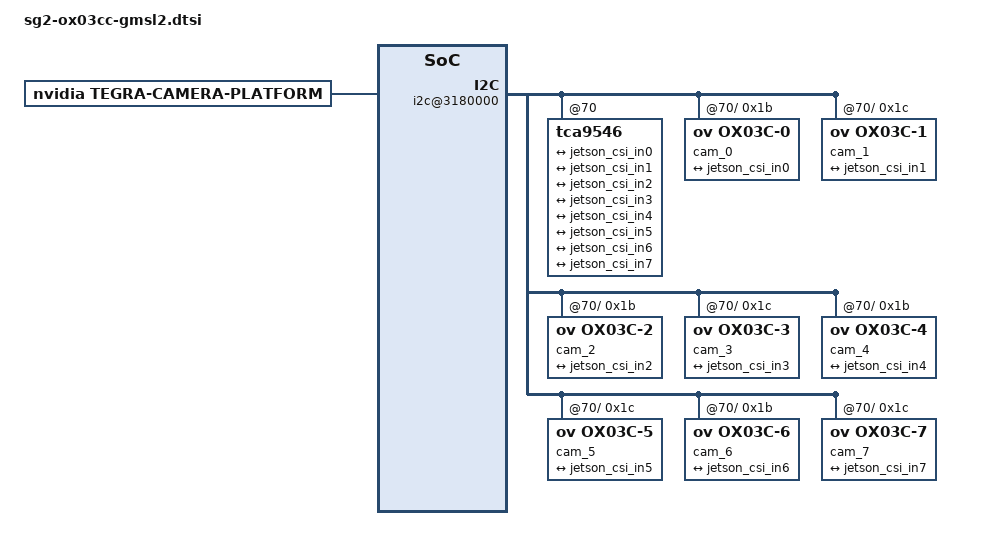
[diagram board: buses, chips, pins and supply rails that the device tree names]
/*
 * Copyright (c) 2018-2022, NVIDIA CORPORATION.  All rights reserved.
 *
 * This program is free software; you can redistribute it and/or modify
 * it under the terms of the GNU General Public License as published by
 * the Free Software Foundation; either version 2 of the License, or
 * (at your option) any later version.
 *
 * This program is distributed in the hope that it will be useful, but WITHOUT
 * ANY WARRANTY; without even the implied warranty of MERCHANTABILITY or
 * FITNESS FOR A PARTICULAR PURPOSE.  See the GNU General Public License for
 * more details.
 *
 * You should have received a copy of the GNU General Public License
 * along with this program.  If not, see <http://www.gnu.org/licenses/>.
 */

/ {

	tegra-capture-vi {
		num-channels = <8>;
		ports {
			#address-cells = <1>;
			#size-cells = <0>;
			port@0 {
				reg = <0>;
				jetson_vi_in0: endpoint {
					vc-id = <0>;
					port-index = <0>;
					bus-width = <2>;
					remote-endpoint = <&jetson_csi_out0>;
				};
			};
			port@1 {
				reg = <1>;
				jetson_vi_in1: endpoint {
					vc-id = <1>;
					port-index = <0>;
					bus-width = <2>;
					remote-endpoint = <&jetson_csi_out1>;
				};
			};
			port@2 {
				reg = <2>;
				jetson_vi_in2: endpoint {
					vc-id = <0>;
					port-index = <2>;
					bus-width = <2>;
					remote-endpoint = <&jetson_csi_out2>;
				};
			};
			port@3 {
				reg = <3>;
				jetson_vi_in3: endpoint {
					vc-id = <1>;
					port-index = <2>;
					bus-width = <2>;
					remote-endpoint = <&jetson_csi_out3>;
				};
			};
			port@4 {
				reg = <4>;
				jetson_vi_in4: endpoint {
					vc-id = <0>;
					port-index = <4>;
					bus-width = <2>;
					remote-endpoint = <&jetson_csi_out4>;
				};
			};
			port@5 {
				reg = <5>;
				jetson_vi_in5: endpoint {
					vc-id = <1>;
					port-index = <4>;
					bus-width = <2>;
					remote-endpoint = <&jetson_csi_out5>;
				};
			};
			port@6 {
				reg = <6>;
				jetson_vi_in6: endpoint {
					vc-id = <0>;
					port-index = <5>;
					bus-width = <2>;
					remote-endpoint = <&jetson_csi_out6>;
				};
			};
			port@7 {
				reg = <7>;
				jetson_vi_in7: endpoint {
					vc-id = <1>;
					port-index = <5>;
					bus-width = <2>;
					remote-endpoint = <&jetson_csi_out7>;
				};
			};
		};
	};

	host1x@13e00000 {
		nvcsi@15a00000 {
			num-channels = <8>;
			#address-cells = <1>;
			#size-cells = <0>;
			channel@0 {
				reg = <0>;
				ports {
					#address-cells = <1>;
					#size-cells = <0>;
					port@0 {
						reg = <0>;
						jetson_csi_in0: endpoint@0 {
							port-index = <0>;
							bus-width = <2>;
							remote-endpoint = <&cam_csi_out0>;
						};
					};
					port@1 {
						reg = <1>;
						jetson_csi_out0: endpoint@1 {
							remote-endpoint = <&jetson_vi_in0>;
						};
					};
				};
			};
			channel@1 {
				reg = <1>;
				ports {
					#address-cells = <1>;
					#size-cells = <0>;
					port@0 {
						reg = <0>;
						jetson_csi_in1: endpoint@2 {
							port-index = <0>;
							bus-width = <2>;
							remote-endpoint = <&cam_csi_out1>;
						};
					};
					port@1 {
						reg = <1>;
						jetson_csi_out1: endpoint@3 {
							remote-endpoint = <&jetson_vi_in1>;
						};
					};
				};
			};
			channel@2 {
				reg = <2>;
				ports {
					#address-cells = <1>;
					#size-cells = <0>;
					port@0 {
						reg = <0>;
						jetson_csi_in2: endpoint@4 {
							port-index = <2>;
							bus-width = <2>;
							remote-endpoint = <&cam_csi_out2>;
						};
					};
					port@1 {
						reg = <1>;
						jetson_csi_out2: endpoint@5 {
							remote-endpoint = <&jetson_vi_in2>;
						};
					};
				};
			};
			channel@3 {
				reg = <3>;
				ports {
					#address-cells = <1>;
					#size-cells = <0>;
					port@0 {
						reg = <0>;
						jetson_csi_in3: endpoint@6 {
							port-index = <2>;
							bus-width = <2>;
							remote-endpoint = <&cam_csi_out3>;
						};
					};
					port@1 {
						reg = <1>;
						jetson_csi_out3: endpoint@7 {
							remote-endpoint = <&jetson_vi_in3>;
						};
					};
				};
			};
			channel@4 {
				reg = <4>;
				ports {
					#address-cells = <1>;
					#size-cells = <0>;
					port@0 {
						reg = <0>;
						jetson_csi_in4: endpoint@8 {
							port-index = <4>;
							bus-width = <2>;
							remote-endpoint = <&cam_csi_out4>;
						};
					};
					port@1 {
						reg = <1>;
						jetson_csi_out4: endpoint@9 {
							remote-endpoint = <&jetson_vi_in4>;
						};
					};
				};
			};
			channel@5 {
				reg = <5>;
				ports {
					#address-cells = <1>;
					#size-cells = <0>;
					port@0 {
						reg = <0>;
						jetson_csi_in5: endpoint@10 {
							port-index = <4>;
							bus-width = <2>;
							remote-endpoint = <&cam_csi_out5>;
						};
					};
					port@1 {
						reg = <1>;
						jetson_csi_out5: endpoint@11 {
							remote-endpoint = <&jetson_vi_in5>;
						};
					};
				};
			};
			channel@6 {
				reg = <6>;
				ports {
					#address-cells = <1>;
					#size-cells = <0>;
					port@0 {
						reg = <0>;
						jetson_csi_in6: endpoint@12 {
							port-index = <6>;
							bus-width = <2>;
							remote-endpoint = <&cam_csi_out6>;
						};
					};
					port@1 {
						reg = <1>;
						jetson_csi_out6: endpoint@13 {
							remote-endpoint = <&jetson_vi_in6>;
						};
					};
				};
			};
			channel@7 {
				reg = <7>;
				ports {
					#address-cells = <1>;
					#size-cells = <0>;
					port@0 {
						reg = <0>;
						jetson_csi_in7: endpoint@14 {
							port-index = <6>;
							bus-width = <2>;
							remote-endpoint = <&cam_csi_out7>;
						};
					};
					port@1 {
						reg = <1>;
						jetson_csi_out7: endpoint@15 {
							remote-endpoint = <&jetson_vi_in7>;
						};
					};
				};
			};
		};
	};

	i2c@3180000 {
		tca9546@70 {
			i2c@0 {
				cam_0@1b {
					compatible = "ov,ox03c-0";
					def-addr = <0x36>;
					reg = <0x1b>;

					/* Physical dimensions of sensor */
					physical_w = "15.0";
					physical_h = "12.5";

					sensor_model ="ox03c";

					/* Defines number of frames to be dropped by driver internally after applying */
					/* sensor crop settings. Some sensors send corrupt frames after applying */
					/* crop co-ordinates */
					post_crop_frame_drop = "0";

					/* Convert Gain to unit of dB (decibel) befor passing to kernel driver */
					use_decibel_gain = "false";

					/* enable CID_SENSOR_MODE_ID for sensor modes selection */
					use_sensor_mode_id = "true";

					mode0 {/*mode ox03c_1920x1080_crop_30fps*/
						mclk_khz = "24000";
						num_lanes = "2";
						tegra_sinterface = "serial_a";
						vc_id = "0";
						discontinuous_clk = "no";
						dpcm_enable = "false";
						cil_settletime = "0";
						dynamic_pixel_bit_depth = "10";
						csi_pixel_bit_depth = "10";
						mode_type = "bayer";
						pixel_phase = "grbg";

						active_w = "1920";
						active_h = "1080";
						readout_orientation = "0";
						line_length = "1920";
						inherent_gain = "1";
						pix_clk_hz = "74250000";
						serdes_pix_clk_hz = "100000000";

						gain_factor = "10000";
						min_gain_val = "10000"; /*1x*/
						max_gain_val = "40000"; /*4x*/
						step_gain_val = "625";
						default_gain = "15000";
						min_hdr_ratio = "1";
						max_hdr_ratio = "1";
						framerate_factor = "1000000";
						min_framerate = "30000000";
						max_framerate = "30000000";
						step_framerate = "1";
						default_framerate = "30000000";
						exposure_factor = "1000000";
						min_exp_time = "60";
						max_exp_time = "13000";
						step_exp_time = "1";
						default_exp_time = "1000";/* us */
						embedded_metadata_height = "0";
					};

					ports {
						#address-cells = <1>;
						#size-cells = <0>;
						port@0 {
							reg = <0>;
							cam_csi_out0: endpoint {
								vc-id = <0>;
								port-index = <0>;
								bus-width = <2>;
								remote-endpoint = <&jetson_csi_in0>;
							};
						};
					};
					gmsl-link {
						src-csi-port = "b";
						dst-csi-port = "a";
						serdes-csi-link = "a";
						csi-mode = "1x4";
						st-vc = <0>;
						vc-id = <0>;
						num-lanes = <2>;
						streams = "ued-u1", "raw10";
					};
				};
				cam_1@1c {
					compatible = "ov,ox03c-1";
					def-addr = <0x36>;
					reg = <0x1c>;

					/* Physical dimensions of sensor */
					physical_w = "15.0";
					physical_h = "12.5";

					sensor_model ="ox03c";


					/* Defines number of frames to be dropped by driver internally after applying */
					/* sensor crop settings. Some sensors send corrupt frames after applying */
					/* crop co-ordinates */
					post_crop_frame_drop = "0";

					/* Convert Gain to unit of dB (decibel) befor passing to kernel driver */
					use_decibel_gain = "false";

					/* enable CID_SENSOR_MODE_ID for sensor modes selection */
					use_sensor_mode_id = "true";

					mode0 {
						mclk_khz = "24000";
						num_lanes = "2";
						tegra_sinterface = "serial_a";
						vc_id = "1";
						discontinuous_clk = "no";
						dpcm_enable = "false";
						cil_settletime = "0";
						dynamic_pixel_bit_depth = "10";
						csi_pixel_bit_depth = "10";
						mode_type = "bayer";
						pixel_phase = "grbg";

						active_w = "1920";
						active_h = "1080";
						readout_orientation = "0";
						line_length = "1920";
						inherent_gain = "1";
						pix_clk_hz = "74250000";
						serdes_pix_clk_hz = "100000000";

						gain_factor = "10000";
						min_gain_val = "10000"; /*1x*/
						max_gain_val = "40000"; /*4x*/
						step_gain_val = "625";
						default_gain = "15000";
						min_hdr_ratio = "1";
						max_hdr_ratio = "1";
						framerate_factor = "1000000";
						min_framerate = "30000000";
						max_framerate = "30000000";
						step_framerate = "1";
						default_framerate = "30000000";
						exposure_factor = "1000000";
						min_exp_time = "60";
						max_exp_time = "13000";
						step_exp_time = "1";
						default_exp_time = "1000";/* us */
						embedded_metadata_height = "0";
					};

					ports {
						#address-cells = <1>;
						#size-cells = <0>;
						port@0 {
							reg = <0>;
							cam_csi_out1: endpoint {
								vc-id = <1>;
								port-index = <0>;
								bus-width = <2>;
								remote-endpoint = <&jetson_csi_in1>;
						    };
					    };
				    };
					gmsl-link {
						src-csi-port = "b";
						dst-csi-port = "a";
						serdes-csi-link = "b";
						csi-mode = "1x4";
						st-vc = <0>;
						vc-id = <1>;
						num-lanes = <2>;
						streams = "ued-u1", "raw10";
					};
				};
			};
			i2c@1 {
				cam_2@1b {
					compatible = "ov,ox03c-2";
					def-addr = <0x36>;
					reg = <0x1b>;

					/* Physical dimensions of sensor */
					physical_w = "15.0";
					physical_h = "12.5";

					sensor_model ="ox03c";

					/* Defines number of frames to be dropped by driver internally after applying */
					/* sensor crop settings. Some sensors send corrupt frames after applying */
					/* crop co-ordinates */
					post_crop_frame_drop = "0";

					/* Convert Gain to unit of dB (decibel) befor passing to kernel driver */
					use_decibel_gain = "false";

					/* enable CID_SENSOR_MODE_ID for sensor modes selection */
					use_sensor_mode_id = "true";

					mode0 {/*mode ox03c_1920x1080_crop_30fps*/
						mclk_khz = "24000";
						num_lanes = "2";
						tegra_sinterface = "serial_c";
						vc_id = "0";
						discontinuous_clk = "no";
						dpcm_enable = "false";
						cil_settletime = "0";
						dynamic_pixel_bit_depth = "10";
						csi_pixel_bit_depth = "10";
						mode_type = "bayer";
						pixel_phase = "grbg";

						active_w = "1920";
						active_h = "1080";
						readout_orientation = "0";
						line_length = "1920";
						inherent_gain = "1";
						pix_clk_hz = "74250000";
						serdes_pix_clk_hz = "100000000";

						gain_factor = "10000";
						min_gain_val = "10000"; /*1x*/
						max_gain_val = "40000"; /*4x*/
						step_gain_val = "625";
						default_gain = "10000";
						min_hdr_ratio = "1";
						max_hdr_ratio = "1";
						framerate_factor = "1000000";
						min_framerate = "30000000";
						max_framerate = "30000000";
						step_framerate = "1";
						default_framerate = "30000000";
						exposure_factor = "1000000";
						min_exp_time = "60";
						max_exp_time = "13000";
						step_exp_time = "1";
						default_exp_time = "1000";/* us */
						embedded_metadata_height = "0";
					};

					ports {
						#address-cells = <1>;
						#size-cells = <0>;
						port@0 {
							reg = <0>;
							cam_csi_out2: endpoint {
								vc-id = <0>;
								port-index = <2>;
								bus-width = <2>;
								remote-endpoint = <&jetson_csi_in2>;
							};
						};
					};
					gmsl-link {
						src-csi-port = "b";
						dst-csi-port = "a";
						serdes-csi-link = "a";
						csi-mode = "1x4";
						st-vc = <0>;
						vc-id = <0>;
						num-lanes = <2>;
						streams = "ued-u1", "raw10";
					};
				};
				cam_3@1c {
					compatible = "ov,ox03c-3";
					def-addr = <0x36>;
					reg = <0x1c>;

					/* Physical dimensions of sensor */
					physical_w = "15.0";
					physical_h = "12.5";

					sensor_model ="ox03c";

					/* Defines number of frames to be dropped by driver internally after applying */
					/* sensor crop settings. Some sensors send corrupt frames after applying */
					/* crop co-ordinates */
					post_crop_frame_drop = "0";

					/* Convert Gain to unit of dB (decibel) befor passing to kernel driver */
					use_decibel_gain = "false";

					/* enable CID_SENSOR_MODE_ID for sensor modes selection */
					use_sensor_mode_id = "true";

					mode0 {
						mclk_khz = "24000";
						num_lanes = "2";
						tegra_sinterface = "serial_c";
						vc_id = "1";
						discontinuous_clk = "no";
						dpcm_enable = "false";
						cil_settletime = "0";
						dynamic_pixel_bit_depth = "10";
						csi_pixel_bit_depth = "10";
						mode_type = "bayer";
						pixel_phase = "grbg";

						active_w = "1920";
						active_h = "1080";
						readout_orientation = "0";
						line_length = "1920";
						inherent_gain = "1";
						pix_clk_hz = "74250000";
						serdes_pix_clk_hz = "100000000";

						gain_factor = "10000";
						min_gain_val = "10000"; /*1x*/
						max_gain_val = "40000"; /*4x*/
						step_gain_val = "625";
						default_gain = "15000";
						min_hdr_ratio = "1";
						max_hdr_ratio = "1";
						framerate_factor = "1000000";
						min_framerate = "30000000";
						max_framerate = "30000000";
						step_framerate = "1";
						default_framerate = "30000000";
						exposure_factor = "1000000";
						min_exp_time = "60";
						max_exp_time = "13000";
						step_exp_time = "1";
						default_exp_time = "1000";/* us */
						embedded_metadata_height = "0";
					};

					ports {
						#address-cells = <1>;
						#size-cells = <0>;
						port@0 {
							reg = <0>;
							cam_csi_out3: endpoint {
								vc-id = <1>;
								port-index = <2>;
								bus-width = <2>;
								remote-endpoint = <&jetson_csi_in3>;
						    };
					    };
				    };
					gmsl-link {
						src-csi-port = "b";
						dst-csi-port = "a";
						serdes-csi-link = "b";
						csi-mode = "1x4";
						st-vc = <0>;
						vc-id = <1>;
						num-lanes = <2>;
						streams = "ued-u1", "raw10";
					};
				};
			};
			i2c@2 {
				cam_4@1b {
					compatible = "ov,ox03c-4";
					def-addr = <0x36>;
					reg = <0x1b>;

					/* Physical dimensions of sensor */
					physical_w = "15.0";
					physical_h = "12.5";

					sensor_model ="ox03c";

					/* Defines number of frames to be dropped by driver internally after applying */
					/* sensor crop settings. Some sensors send corrupt frames after applying */
					/* crop co-ordinates */
					post_crop_frame_drop = "0";

					/* Convert Gain to unit of dB (decibel) befor passing to kernel driver */
					use_decibel_gain = "false";

					/* enable CID_SENSOR_MODE_ID for sensor modes selection */
					use_sensor_mode_id = "true";

					mode0 {/*mode ox03c_1920x1080_crop_30fps*/
						mclk_khz = "24000";
						num_lanes = "2";
						tegra_sinterface = "serial_e";
						vc_id = "0";
						discontinuous_clk = "no";
						dpcm_enable = "false";
						cil_settletime = "0";
						dynamic_pixel_bit_depth = "10";
						csi_pixel_bit_depth = "10";
						mode_type = "bayer";
						pixel_phase = "grbg";

						active_w = "1920";
						active_h = "1080";
						readout_orientation = "0";
						line_length = "1920";
						inherent_gain = "1";
						pix_clk_hz = "74250000";
						serdes_pix_clk_hz = "100000000";

						gain_factor = "10000";
						min_gain_val = "10000";
						max_gain_val = "40000";
						step_gain_val = "625";
						default_gain = "15000";
						min_hdr_ratio = "1";
						max_hdr_ratio = "1";
						framerate_factor = "1000000";
						min_framerate = "30000000";
						max_framerate = "30000000";
						step_framerate = "1";
						default_framerate = "30000000";
						exposure_factor = "1000000";
						min_exp_time = "60";
						max_exp_time = "13000";
						step_exp_time = "1";
						default_exp_time = "1000";/* us */
						embedded_metadata_height = "0";
					};

					ports {
						#address-cells = <1>;
						#size-cells = <0>;
						port@0 {
							reg = <0>;
							cam_csi_out4: endpoint {
								vc-id = <0>;
								port-index = <4>;
								bus-width = <2>;
								remote-endpoint = <&jetson_csi_in4>;
							};
						};
					};
					gmsl-link {
						src-csi-port = "b";
						dst-csi-port = "a";
						serdes-csi-link = "a";
						csi-mode = "1x4";
						st-vc = <0>;
						vc-id = <0>;
						num-lanes = <2>;
						streams = "ued-u1", "raw10";
					};
				};
				cam_5@1c {
					compatible = "ov,ox03c-5";
					def-addr = <0x36>;
					reg = <0x1c>;

					/* Physical dimensions of sensor */
					physical_w = "15.0";
					physical_h = "12.5";

					sensor_model ="ox03c";


					/* Defines number of frames to be dropped by driver internally after applying */
					/* sensor crop settings. Some sensors send corrupt frames after applying */
					/* crop co-ordinates */
					post_crop_frame_drop = "0";

					/* Convert Gain to unit of dB (decibel) befor passing to kernel driver */
					use_decibel_gain = "false";

					/* enable CID_SENSOR_MODE_ID for sensor modes selection */
					use_sensor_mode_id = "true";

					mode0 {
						mclk_khz = "24000";
						num_lanes = "2";
						tegra_sinterface = "serial_e";
						vc_id = "1";
						discontinuous_clk = "no";
						dpcm_enable = "false";
						cil_settletime = "0";
						dynamic_pixel_bit_depth = "10";
						csi_pixel_bit_depth = "10";
						mode_type = "bayer";
						pixel_phase = "grbg";

						active_w = "1920";
						active_h = "1080";
						readout_orientation = "0";
						line_length = "1920";
						inherent_gain = "1";
						pix_clk_hz = "74250000";
						serdes_pix_clk_hz = "100000000";

						gain_factor = "10000";
						min_gain_val = "10000";
						max_gain_val = "40000";
						step_gain_val = "625";
						default_gain = "15000";
						min_hdr_ratio = "1";
						max_hdr_ratio = "1";
						framerate_factor = "1000000";
						min_framerate = "30000000";
						max_framerate = "30000000";
						step_framerate = "1";
						default_framerate = "30000000";
						exposure_factor = "1000000";
						min_exp_time = "60";
						max_exp_time = "13000";
						step_exp_time = "1";
						default_exp_time = "1000";/* us */
						embedded_metadata_height = "0";
					};

					ports {
						#address-cells = <1>;
						#size-cells = <0>;
						port@0 {
							reg = <0>;
							cam_csi_out5: endpoint {
								vc-id = <1>;
								port-index = <4>;
								bus-width = <2>;
								remote-endpoint = <&jetson_csi_in5>;
						    };
					    };
				    };
					gmsl-link {
						src-csi-port = "b";
						dst-csi-port = "a";
						serdes-csi-link = "b";
						csi-mode = "1x4";
						st-vc = <0>;
						vc-id = <1>;
						num-lanes = <2>;
						streams = "ued-u1", "raw10";
					};
				};
			};
			i2c@3 {
				cam_6@1b {
					compatible = "ov,ox03c-6";
					def-addr = <0x36>;
					reg = <0x1b>;

					/* Physical dimensions of sensor */
					physical_w = "15.0";
					physical_h = "12.5";

					sensor_model ="ox03c";

					/* Defines number of frames to be dropped by driver internally after applying */
					/* sensor crop settings. Some sensors send corrupt frames after applying */
					/* crop co-ordinates */
					post_crop_frame_drop = "0";

					/* Convert Gain to unit of dB (decibel) befor passing to kernel driver */
					use_decibel_gain = "false";

					/* enable CID_SENSOR_MODE_ID for sensor modes selection */
					use_sensor_mode_id = "true";

					mode0 {/*mode ox03c_1920x1080_crop_30fps*/
						mclk_khz = "24000";
						num_lanes = "2";
						tegra_sinterface = "serial_g";
						vc_id = "0";
						discontinuous_clk = "no";
						dpcm_enable = "false";
						cil_settletime = "0";
						dynamic_pixel_bit_depth = "10";
						csi_pixel_bit_depth = "10";
						mode_type = "bayer";
						pixel_phase = "grbg";

						active_w = "1920";
						active_h = "1080";
						readout_orientation = "0";
						line_length = "1920";
						inherent_gain = "1";
						pix_clk_hz = "74250000";
						serdes_pix_clk_hz = "100000000";

						gain_factor = "10000";
						min_gain_val = "10000";
						max_gain_val = "40000";
						step_gain_val = "625";
						default_gain = "15000";
						min_hdr_ratio = "1";
						max_hdr_ratio = "1";
						framerate_factor = "1000000";
						min_framerate = "30000000";
						max_framerate = "30000000";
						step_framerate = "1";
						default_framerate = "30000000";
						exposure_factor = "1000000";
						min_exp_time = "60"; /*us, 2 lines*/
						max_exp_time = "13000";
						step_exp_time = "1";
						default_exp_time = "1000";/* us */
						embedded_metadata_height = "0";
					};

					ports {
						#address-cells = <1>;
						#size-cells = <0>;
						port@0 {
							reg = <0>;
							cam_csi_out6: endpoint {
								vc-id = <0>;
								port-index = <6>;
								bus-width = <2>;
								remote-endpoint = <&jetson_csi_in6>;
							};
						};
					};
					gmsl-link {
						src-csi-port = "b";
						dst-csi-port = "a";
						serdes-csi-link = "a";
						csi-mode = "1x4";
						st-vc = <0>;
						vc-id = <0>;
						num-lanes = <2>;
						streams = "ued-u1", "raw10";
					};
				};
				cam_7@1c {
					compatible = "ov,ox03c-7";
					def-addr = <0x36>;
					reg = <0x1c>;

					/* Physical dimensions of sensor */
					physical_w = "15.0";
					physical_h = "12.5";

					sensor_model ="ox03c";


					/* Defines number of frames to be dropped by driver internally after applying */
					/* sensor crop settings. Some sensors send corrupt frames after applying */
					/* crop co-ordinates */
					post_crop_frame_drop = "0";

					/* Convert Gain to unit of dB (decibel) befor passing to kernel driver */
					use_decibel_gain = "false";

					/* enable CID_SENSOR_MODE_ID for sensor modes selection */
					use_sensor_mode_id = "true";

					mode0 {
						mclk_khz = "24000";
						num_lanes = "2";
						tegra_sinterface = "serial_g";
						vc_id = "1";
						discontinuous_clk = "no";
						dpcm_enable = "false";
						cil_settletime = "0";
						dynamic_pixel_bit_depth = "10";
						csi_pixel_bit_depth = "10";
						mode_type = "bayer";
						pixel_phase = "grbg";

						active_w = "1920";
						active_h = "1080";
						readout_orientation = "0";
						line_length = "1920";
						inherent_gain = "1";
						pix_clk_hz = "74250000";
						serdes_pix_clk_hz = "100000000";

						gain_factor = "10000";
						min_gain_val = "10000";
						max_gain_val = "40000";
						step_gain_val = "625";
						default_gain = "10000";
						min_hdr_ratio = "1";
						max_hdr_ratio = "1";
						framerate_factor = "1000000";
						min_framerate = "30000000";
						max_framerate = "30000000";
						step_framerate = "1";
						default_framerate = "30000000";
						exposure_factor = "1000000";
						min_exp_time = "60"; /*us, 2 lines*/
						max_exp_time = "13000";
						step_exp_time = "1";
						default_exp_time = "1000";/* us */
						embedded_metadata_height = "0";
					};

					ports {
						#address-cells = <1>;
						#size-cells = <0>;
						port@0 {
							reg = <0>;
							cam_csi_out7: endpoint {
								vc-id = <1>;
								port-index = <6>;
								bus-width = <2>;
								remote-endpoint = <&jetson_csi_in7>;
						    };
					    };
				    };
					gmsl-link {
						src-csi-port = "b";
						dst-csi-port = "a";
						serdes-csi-link = "b";
						csi-mode = "1x4";
						st-vc = <0>;
						vc-id = <1>;
						num-lanes = <2>;
						streams = "ued-u1", "raw10";
					};
				};
			};
		};
	};
};

/ {

	tegra-camera-platform {
		compatible = "nvidia, tegra-camera-platform";

		num_csi_lanes = <8>;
		max_lane_speed = <4000000>;
		min_bits_per_pixel = <10>;
		vi_peak_byte_per_pixel = <2>;
		vi_bw_margin_pct = <25>;
		isp_peak_byte_per_pixel = <5>;
		isp_bw_margin_pct = <25>;

		/**
		 * The general guideline for naming badge_info contains 3 parts, and is as follows,
		 * The first part is the camera_board_id for the module; if the module is in a FFD
		 * platform, then use the platform name for this part.
		 * The second part contains the position of the module, ex. "rear" or "front".
		 * The third part contains the last 6 characters of a part number which is found
		 * in the module's specsheet from the vender.
		 */
		modules {
			module0 {
				badge = "ox03c_bottomleft";
				position = "bottomleft";
				orientation = "1";
				drivernode0 {
					/* Declare PCL support driver (classically known as guid)  */
					pcl_id = "v4l2_sensor";
					/* Driver v4l2 device name */
					devname = "ox03c 30-001b";
					/* Declare the device-tree hierarchy to driver instance */
					proc-device-tree = "/proc/device-tree/i2c@3180000/tca9546@70/i2c@0/cam_0@1b";
				};
			};
			module1 {
				badge = "ox03c_bottomright";
				position = "bottomright";
				orientation = "1";
				drivernode0 {
					/* Declare PCL support driver (classically known as guid)  */
					pcl_id = "v4l2_sensor";
					/* Driver v4l2 device name */
					devname = "ox03c 30-001c";
					/* Declare the device-tree hierarchy to driver instance */
					proc-device-tree = "/proc/device-tree/i2c@3180000/tca9546@70/i2c@0/cam_1@1c";
				};
			};
			module2 {
				badge = "ox03c_centerleft";
				position = "centerleft";
				orientation = "1";
				drivernode0 {
					/* Declare PCL support driver (classically known as guid)  */
					pcl_id = "v4l2_sensor";
					/* Driver v4l2 device name */
					devname = "ox03c 31-001b";
					/* Declare the device-tree hierarchy to driver instance */
					proc-device-tree = "/proc/device-tree/i2c@3180000/tca9546@70/i2c@1/cam_2@1b";
				};
			};
			module3 {
				badge = "ox03c_centerright";
				position = "centerright";
				orientation = "1";
				drivernode0 {
					/* Declare PCL support driver (classically known as guid)  */
					pcl_id = "v4l2_sensor";
					/* Driver v4l2 device name */
					devname = "ox03c 31-001c";
					/* Declare the device-tree hierarchy to driver instance */
					proc-device-tree = "/proc/device-tree/i2c@3180000/tca9546@70/i2c@1/cam_3@1c";
				};
			};
			module4 {
				badge = "ox03c_topleft";
				position = "topleft";
				orientation = "1";
				drivernode0 {
					/* Declare PCL support driver (classically known as guid)  */
					pcl_id = "v4l2_sensor";
					/* Driver v4l2 device name */
					devname = "ox03c 32-001b";
					/* Declare the device-tree hierarchy to driver instance */
					proc-device-tree = "/proc/device-tree/i2c@3180000/tca9546@70/i2c@2/cam_4@1b";
				};
			};
			module5 {
				badge = "ox03c_topright";
				position = "topright";
				orientation = "1";
				drivernode0 {
					/* Declare PCL support driver (classically known as guid)  */
					pcl_id = "v4l2_sensor";
					/* Driver v4l2 device name */
					devname = "ox03c 32-001c";
					/* Declare the device-tree hierarchy to driver instance */
					proc-device-tree = "/proc/device-tree/i2c@3180000/tca9546@70/i2c@2/cam_5@1c";
				};
			};
			module6 {
				badge = "ox03c_position6";
				position = "position6";
				orientation = "1";
				drivernode0 {
					/* Declare PCL support driver (classically known as guid)  */
					pcl_id = "v4l2_sensor";
					/* Driver v4l2 device name */
					devname = "ox03c 33-001b";
					/* Declare the device-tree hierarchy to driver instance */
					proc-device-tree = "/proc/device-tree/i2c@3180000/tca9546@70/i2c@3/cam_6@1b";
				};
			};
			module7 {
				badge = "ox03c_position7";
				position = "position7";
				orientation = "1";
				drivernode0 {
					/* Declare PCL support driver (classically known as guid)  */
					pcl_id = "v4l2_sensor";
					/* Driver v4l2 device name */
					devname = "ox03c 33-001c";
					/* Declare the device-tree hierarchy to driver instance */
					proc-device-tree = "/proc/device-tree/i2c@3180000/tca9546@70/i2c@3/cam_7@1c";
				};
			};
		};
	};
};
